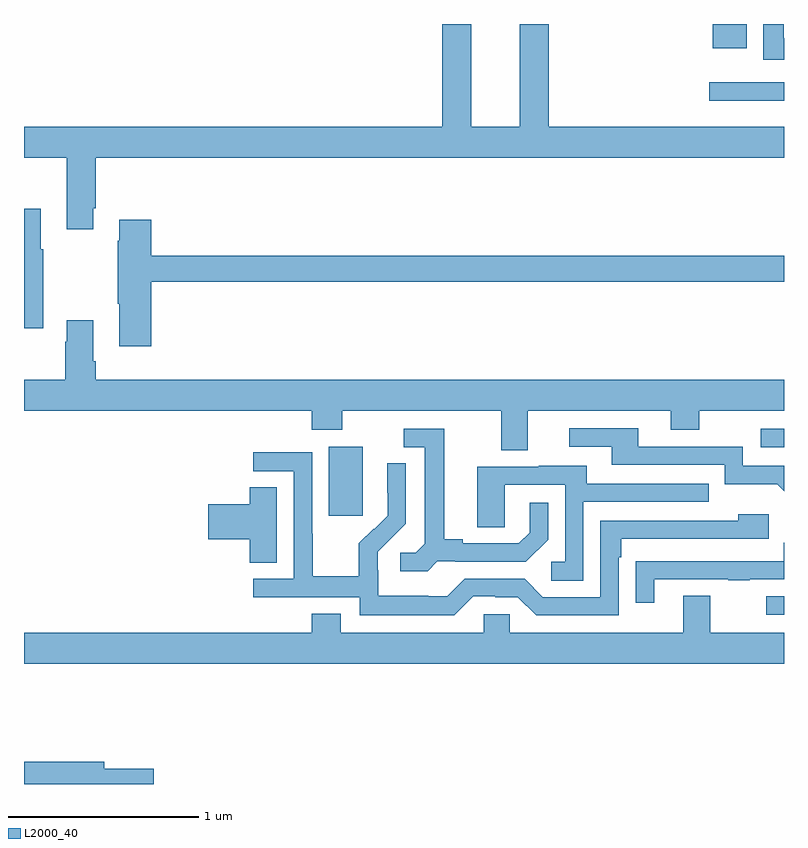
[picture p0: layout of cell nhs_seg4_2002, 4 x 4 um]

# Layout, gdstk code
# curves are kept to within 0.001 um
import gdstk
lib = gdstk.Library(unit=1e-6, precision=1e-09)
def R(c, l, rs):  # rectangles x0, y0, x1, y1
    for r in rs: c.add(gdstk.rectangle(r[:2], r[2:], *l))
def P(c, l, *ps):  # polygons
    for p in ps: c.add(gdstk.Polygon(p, *l))
L2000_40 = (2000, 40)

nhs_seg4_2002 = lib.new_cell('nhs_seg4_2002')
R(nhs_seg4_2002, L2000_40, [(218.907,751.791,219,751.887), (216.605,752.313,216.784,752.674), (218.877,752.673,219,752.769), (218.607,754.496,219,754.593), (218.624,754.772,218.803,754.9)])
P(nhs_seg4_2002, L2000_40, [(215.365,753.931),(215.378,753.931),(215.378,754.196),(219,754.196),(219,754.36),(217.763,754.36),(217.763,754.9),(217.61,754.9),(217.61,754.36),(217.354,754.36),(217.354,754.9),(217.202,754.9),(217.202,754.36),(215,754.36),(215,754.196),(215.225,754.196),(215.225,753.819),(215.365,753.819)],
  [(219,754.826),(218.998,754.826),(218.998,754.9),(218.891,754.9),(218.891,754.713),(219,754.713)],
  [(215.101,753.715),(215.089,753.715),(215.089,753.928),(215,753.928),(215,753.299),(215.101,753.299)],
  [(215.669,753.544),(219,753.544),(219,753.68),(215.669,753.68),(215.669,753.871),(215.501,753.871),(215.501,753.758),(215.494,753.758),(215.494,753.427),(215.501,753.427),(215.501,753.204),(215.669,753.204)],
  [(217.651,752.864),(218.405,752.864),(218.405,752.765),(218.553,752.765),(218.553,752.864),(219,752.864),(219,753.028),(215.378,753.028),(215.378,753.124),(215.365,753.124),(215.365,753.34),(215.225,753.34),(215.225,753.227),(215.218,753.227),(215.218,753.028),(215,753.028),(215,752.864),(216.515,752.864),(216.515,752.765),(216.675,752.765),(216.675,752.864),(217.511,752.864),(217.511,752.656),(217.651,752.656)],
  [(219,752.574),(218.784,752.574),(218.784,752.676),(218.233,752.676),(218.233,752.772),(217.869,752.772),(217.869,752.676),(218.093,752.676),(218.093,752.58),(218.688,752.58),(218.688,752.477),(218.965,752.477),(219,752.442)],
  [(217.176,752.073),(217.27,752.073),(217.27,752.07),(217.642,752.07),(217.758,752.186),(217.758,752.38),(217.661,752.38),(217.661,752.223),(217.604,752.166),(217.309,752.166),(217.309,752.189),(217.213,752.189),(217.213,752.769),(216.999,752.769),(216.999,752.673),(217.109,752.673),(217.109,752.165),(217.062,752.118),(216.981,752.118),(216.981,752.021),(217.124,752.021)],
  [(217.365,751.887),(217.481,751.887),(217.481,751.884),(217.599,751.884),(217.695,751.788),(218.13,751.788),(218.13,752.093),(218.143,752.093),(218.143,752.19),(218.92,752.19),(218.92,752.32),(218.759,752.32),(218.759,752.286),(218.034,752.286),(218.034,751.884),(217.731,751.884),(217.635,751.98),(217.32,751.98),(217.227,751.887),(217.127,751.887),(217.127,751.891),(216.864,751.891),(216.864,752.025),(216.862,752.025),(216.862,752.122),(217.008,752.27),(217.008,752.588),(216.912,752.588),(216.912,752.434),(216.914,752.434),(216.914,752.312),(216.843,752.241),(216.84,752.244),(216.763,752.167),(216.763,751.993),(216.519,751.993),(216.519,752.216),(216.516,752.216),(216.516,752.646),(216.207,752.646),(216.207,752.547),(216.42,752.547),(216.42,751.98),(216.207,751.98),(216.207,751.884),(216.768,751.884),(216.768,751.787),(217.265,751.787)],
  [(217.944,752.385),(218.603,752.385),(218.603,752.481),(217.963,752.481),(217.963,752.575),(217.709,752.575),(217.709,752.571),(217.385,752.571),(217.385,752.251),(217.53,752.251),(217.53,752.475),(217.848,752.475),(217.848,752.07),(217.776,752.07),(217.776,751.969),(217.944,751.969)],
  [(216.331,752.462),(216.188,752.462),(216.188,752.372),(215.97,752.372),(215.97,752.189),(216.188,752.189),(216.188,752.065),(216.331,752.065)],
  [(218.317,751.977),(218.707,751.977),(218.707,751.972),(218.819,751.972),(218.819,751.977),(219,751.977),(219,752.17),(218.998,752.17),(218.998,752.073),(218.323,752.073),(218.323,752.072),(218.221,752.072),(218.221,751.854),(218.317,751.854)],
  [(219,751.696),(218.611,751.696),(218.611,751.891),(218.471,751.891),(218.471,751.696),(217.557,751.696),(217.557,751.794),(217.419,751.794),(217.419,751.696),(216.667,751.696),(216.667,751.795),(216.515,751.795),(216.515,751.696),(215,751.696),(215,751.532),(219,751.532)],
  [(215.683,750.98),(215.422,750.98),(215.422,751.016),(215,751.016),(215,750.9),(215.683,750.9)])

lib.write_gds('nhs_seg4_2002.gds')
